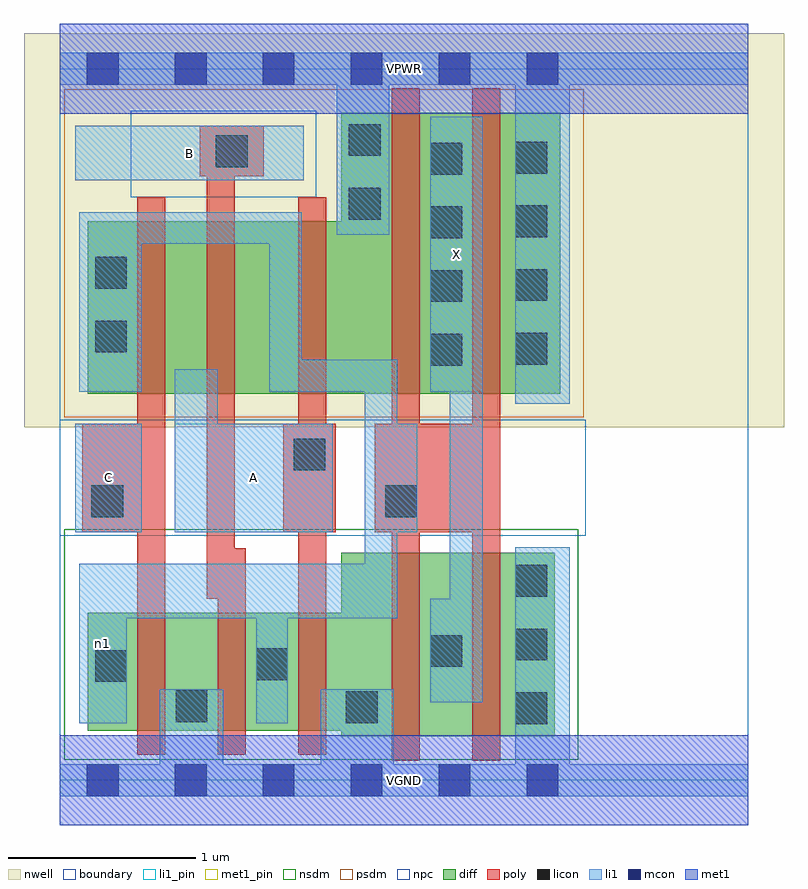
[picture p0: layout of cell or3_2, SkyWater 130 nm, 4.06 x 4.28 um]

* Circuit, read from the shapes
.subckt or3_2 A B C VGND VPWR X n1
XM1 VGND C n1 VSUBS sky130_fd_pr__nfet_01v8 w=0.63 l=0.15
XM2 n1 B VGND VSUBS sky130_fd_pr__nfet_01v8 w=0.63 l=0.15
XM3 VGND A n1 VSUBS sky130_fd_pr__nfet_01v8 w=0.63 l=0.15
XM4 X n1 VGND VSUBS sky130_fd_pr__nfet_01v8 w=0.98 l=0.15 m=2
XM5 n2 C n1 n3 sky130_fd_pr__pfet_01v8 w=0.92 l=0.15
XM6 n4 B n2 n3 sky130_fd_pr__pfet_01v8 w=0.92 l=0.15
XM7 VPWR A n4 n3 sky130_fd_pr__pfet_01v8 w=0.92 l=0.15
XM8 X n1 VPWR n3 sky130_fd_pr__pfet_01v8 w=1.5 l=0.15 m=2
.ends

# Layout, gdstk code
import gdstk
lib = gdstk.Library(unit=1e-6, precision=1e-09)
def R(c, l, rs):  # rectangles x0, y0, x1, y1
    for r in rs: c.add(gdstk.rectangle(r[:2], r[2:], *l))
def A(c, l, x, y, w, h, nx, ny, dx, dy):  # array of equal rectangles
    R(c, l, [(x+i*dx, y+j*dy, x+i*dx+w, y+j*dy+h) for i in range(nx) for j in range(ny)])
nwell = (64, 20)
diff = (65, 20)
poly = (66, 20)
licon = (66, 44)
li1_pin = (67, 16)
li1 = (67, 20)
mcon = (67, 44)
met1_pin = (68, 16)
met1 = (68, 20)
nsdm = (93, 44)
psdm = (94, 20)
npc = (95, 20)
boundary = (235, 4)

or3_2 = lib.new_cell('or3_2')
R(or3_2, nwell, [(-0.19,1.885,3.87,3.99), (0,1.885,3.68,3.99)])
R(or3_2, diff, [(1.505,0.235,2.645,1.215), (0.15,0.265,2.645,0.895), (0.15,2.065,2.675,2.985), (1.505,2.065,2.675,3.565)])
R(or3_2, poly, [(1.775,0.105,1.925,3.695), (2.205,0.105,2.355,3.695), (0.415,0.135,0.565,3.115), (0.845,0.135,0.995,1.24), (1.275,0.135,1.425,3.115), (0.785,0.97,0.935,3.495), (0.12,1.325,0.565,1.905), (1.195,1.325,1.475,1.905), (1.685,1.325,2.355,1.905), (0.75,3.225,1.09,3.495)])
A(or3_2, licon, 2.435, 0.3, 0.17, 0.17, 1, 3, 0, 0.34)
A(or3_2, licon, 1.98, 2.215, 0.17, 0.17, 1, 4, 0, 0.34)
A(or3_2, licon, 2.435, 2.22, 0.17, 0.17, 1, 4, 0, 0.34)
R(or3_2, licon, [(1.53,0.305,1.7,0.475), (0.62,0.31,0.79,0.48), (0.19,0.525,0.36,0.695), (1.05,0.535,1.22,0.705), (1.98,0.605,2.15,0.775), (0.17,1.405,0.34,1.575), (1.74,1.405,1.91,1.575), (1.25,1.655,1.42,1.825), (0.19,2.285,0.36,2.455), (0.19,2.625,0.36,2.795), (1.545,2.995,1.715,3.165), (0.835,3.275,1.005,3.445), (1.545,3.335,1.715,3.505)])
R(or3_2, li1_pin, [(0.085,1.325,0.44,1.905), (0.615,1.325,1.46,1.905), (1.98,2.075,2.26,3.545), (0.085,3.205,1.305,3.495)])
R(or3_2, li1, [(0,-0.085,3.68,0.085), (0.535,-0.085,0.875,0.485), (1.395,-0.085,1.785,0.485), (2.435,-0.085,2.725,1.245), (0.105,0.305,0.36,1.155), (1.05,0.305,1.22,1.155), (1.98,0.415,2.26,0.97), (2.085,0.415,2.26,3.545), (0.105,0.865,1.805,1.155), (1.63,0.865,1.805,2.245), (0.085,1.325,0.44,1.905), (0.615,1.325,1.46,1.905), (0.615,1.325,0.845,2.195), (1.63,1.325,1.91,1.905), (2.435,2.01,2.725,3.885), (0.105,2.075,0.44,3.035), (1.12,2.075,1.805,2.245), (1.12,2.075,1.295,3.035), (1.98,2.075,2.26,3.545), (0.105,2.865,1.295,3.035), (1.48,2.915,1.76,3.885), (0.085,3.205,1.305,3.495), (0,3.715,3.68,3.885)])
A(or3_2, mcon, 0.145, -0.085, 0.17, 0.17, 6, 2, 0.47, 3.8)
R(or3_2, met1_pin, [(0,-0.24,3.68,0.24), (0,3.56,3.68,4.04)])
R(or3_2, met1, [(0,-0.24,3.68,0.24), (0,3.56,3.68,4.04)])
R(or3_2, nsdm, [(0.025,0.11,2.77,1.34)])
R(or3_2, psdm, [(0.025,1.94,2.8,3.69)])
R(or3_2, npc, [(0,1.305,2.81,1.925), (0.38,3.115,1.37,3.575)])
R(or3_2, boundary, [(0,0,3.68,3.8)])
or3_2.add(gdstk.Label('A', (1.037,1.615), layer=67, texttype=5))
or3_2.add(gdstk.Label('B', (0.695,3.35), layer=67, texttype=5))
or3_2.add(gdstk.Label('C', (0.262,1.615), layer=67, texttype=5))
or3_2.add(gdstk.Label('X', (2.12,2.81), layer=67, texttype=5))
or3_2.add(gdstk.Label('n1', (0.232,0.73), layer=67, texttype=5))
or3_2.add(gdstk.Label('VPWR', (1.84,3.8), layer=68, texttype=5))
or3_2.add(gdstk.Label('VGND', (1.84,0), layer=68, texttype=5))
or3_2.add(gdstk.Label('A', (1.037,1.615), layer=67, texttype=16))
or3_2.add(gdstk.Label('B', (0.695,3.35), layer=67, texttype=16))
or3_2.add(gdstk.Label('C', (0.262,1.615), layer=67, texttype=16))
or3_2.add(gdstk.Label('X', (2.12,2.81), layer=67, texttype=16))
or3_2.add(gdstk.Label('VPWR', (1.84,3.8), layer=68, texttype=16))
or3_2.add(gdstk.Label('VGND', (1.84,0), layer=68, texttype=16))

lib.write_gds('or3_2.gds')
